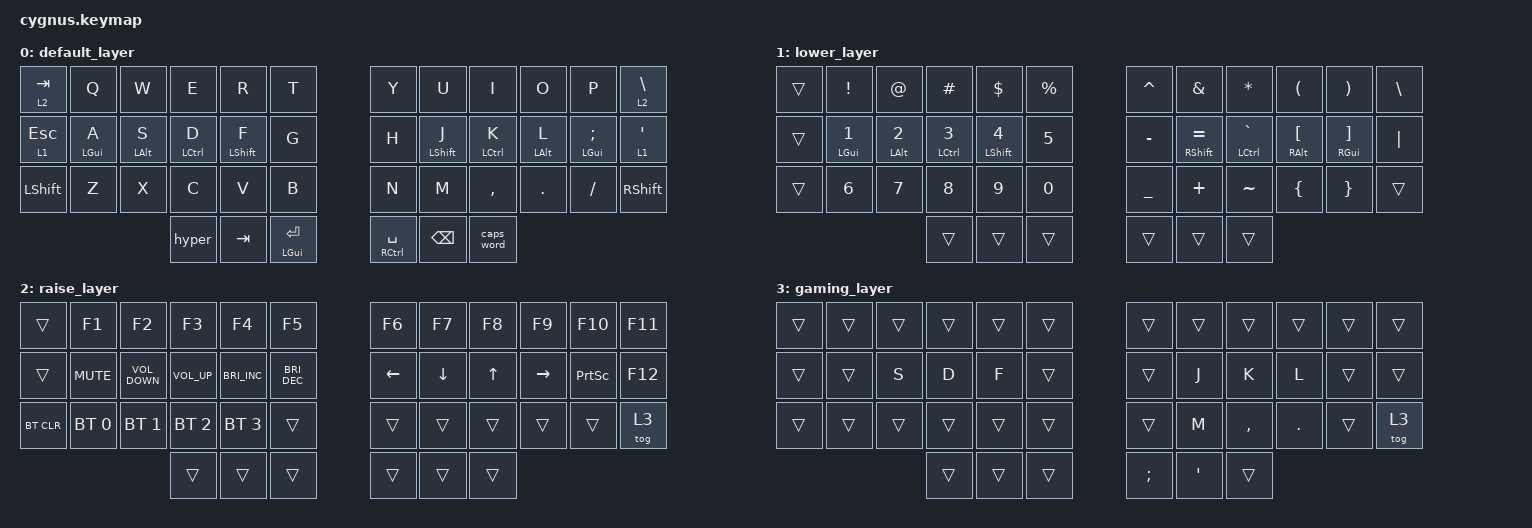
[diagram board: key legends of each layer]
/*
 * Copyright (c) 2020 The ZMK Contributors
 *
 * SPDX-License-Identifier: MIT
 */

#include <dt-bindings/zmk/mouse.h>
#include <behaviors.dtsi>
#include <dt-bindings/zmk/bt.h>
#include <dt-bindings/zmk/keys.h>

/ {
    combos { compatible = "zmk,combos"; };

    behaviors {
        hmr: hmr {
            compatible = "zmk,behavior-hold-tap";
            label = "HMR";
            bindings = <&kp>, <&kp>;

            #binding-cells = <2>;
            hold-trigger-key-positions = <0 1 2 3 4 5 6 7 8 9 10 11 12 13 14 15 16 17 18 19 20 21 22 23 24 25 26 27 28 29 30 31 32 33 34 35 36 37 38 39 40 41>;
            hold-trigger-on-release;
            tapping-term-ms = <200>;
            quick-tap-ms = <175>;
            flavor = "tap-preferred";
        };

        hyper: hyper {
            compatible = "zmk,behavior-mod-morph";
            label = "HYPER";
            bindings = <&none>, <&none>;

            #binding-cells = <0>;
            mods = <(MOD_LCTL|MOD_RSFT|MOD_LALT|MOD_RGUI)>;
        };
    };

    keymap {
        compatible = "zmk,keymap";

        default_layer {
            // -----------------------------------------------------------------------------------------
            // |  TAB |  Q  |  W  |  E  |  R  |  T  |   |  Y  |  U   |  I  |  O  |  P  | BSPC |
            // | SHFT |  A  |  S  |  D  |  F  |  G  |   |  H  |  J   |  K  |  L  |  ;  | ENTR |
            // | CTRL |  Z  |  X  |  C  |  V  |  B  |   |  N  |  M   | ./, | '/" |  /* | EQU |
            //                    | GUI | LWR | SPC |   | SPC | L2   | L1  |

            bindings = <
&lt 2 TAB       &kp Q            &kp W            &kp E                &kp R              &kp T                 &kp Y                    &kp U              &kp I                &kp O            &kp P               &lt 2 BACKSLASH
&lt 1 ESC       &hmr LEFT_GUI A  &hmr LEFT_ALT S  &hmr LEFT_CONTROL D  &hmr LEFT_SHIFT F  &kp G                 &kp H                    &hmr LEFT_SHIFT J  &hmr LEFT_CONTROL K  &hmr LEFT_ALT L  &hmr LEFT_GUI SEMI  &lt 1 SQT
&kp LEFT_SHIFT  &kp Z            &kp X            &kp C                &kp V              &kp B                 &kp N                    &kp M              &kp COMMA            &kp PERIOD       &kp SLASH           &kp RIGHT_SHIFT
                                                  &hyper               &kp TAB            &mt LEFT_GUI ENTER    &mt RIGHT_CONTROL SPACE  &kp BACKSPACE      &caps_word
            >;
        };

        lower_layer {
            // -----------------------------------------------------------------------------------------
            // | SYSR |     |     |     |     |     |   |     |  1  |  2  |  3  |  0  |      |
            // |      |     |     | UP  |     |     |   |     |  4  |  5  |  6  |     |      |
            // |      |     | LFT | DWN | RGT |     |   |     |  7  |  8  |  9  |     |      |
            //                    |     |     | SPC |   | SPC |     |     |

            bindings = <
&trans  &kp EXCLAMATION         &kp AT_SIGN             &kp HASH             &kp DOLLAR                &kp PERCENT     &kp CARET       &kp AMPERSAND           &kp ASTERISK             &kp LEFT_PARENTHESIS         &kp RIGHT_PARENTHESIS         &kp BACKSLASH
&trans  &hmr LEFT_GUI NUMBER_1  &hmr LEFT_ALT NUMBER_2  &hmr LCTRL NUMBER_3  &hmr LEFT_SHIFT NUMBER_4  &kp NUMBER_5    &kp MINUS       &hmr RIGHT_SHIFT EQUAL  &hmr LEFT_CONTROL GRAVE  &hmr RIGHT_ALT LEFT_BRACKET  &hmr RIGHT_GUI RIGHT_BRACKET  &kp PIPE
&trans  &kp NUMBER_6            &kp NUMBER_7            &kp NUMBER_8         &kp NUMBER_9              &kp NUMBER_0    &kp UNDERSCORE  &kp PLUS                &kp TILDE                &kp LEFT_BRACE               &kp RIGHT_BRACE               &trans
                                                        &trans               &trans                    &trans          &trans          &trans                  &trans
            >;
        };

        raise_layer {
            // -----------------------------------------------------------------------------------------
            // |  TAB |  !  |  @  |  #  |  &  |  %  |   |  ^  |  $  |  *  |  (  |  )  | BSPC |
            // | CTRL |MUTE |V_UP |V_DWN|  <  |  >  |   |  -  |  =  |  [  |  ]  |  \  |  `   |
            // | SHFT |     |     |     |     |     |   |  _  |  +  |  {  |  }  | "|" |  ~   |
            //                    | GUI |     | SPC |   | SPC |     | ALT |

            bindings = <
&trans      &kp F1        &kp F2             &kp F3           &kp F4                &kp F5           &kp F6          &kp F7          &kp F8        &kp F9     &kp F10          &kp F11
&trans      &kp C_MUTE    &kp C_VOLUME_DOWN  &kp C_VOLUME_UP  &kp C_BRIGHTNESS_INC  &kp C_BRI_DEC    &kp LEFT_ARROW  &kp DOWN_ARROW  &kp UP_ARROW  &kp RIGHT  &kp PRINTSCREEN  &kp F12
&bt BT_CLR  &bt BT_SEL 0  &bt BT_SEL 1       &bt BT_SEL 2     &bt BT_SEL 3          &trans           &trans          &trans          &trans        &trans     &trans           &tog 3
                                             &trans           &trans                &trans           &trans          &trans          &trans
            >;
        };

        gaming_layer {
            bindings = <
&trans  &trans  &trans  &trans  &trans  &trans    &trans         &trans   &trans     &trans      &trans  &trans
&trans  &trans  &kp S   &kp D   &kp F   &trans    &trans         &kp J    &kp K      &kp L       &trans  &trans
&trans  &trans  &trans  &trans  &trans  &trans    &trans         &kp M    &kp COMMA  &kp PERIOD  &trans  &tog 3
                        &trans  &trans  &trans    &kp SEMICOLON  &kp SQT  &trans
            >;
        };
    };
};

//For new Layers
// -----------------------------------------------------------------------------------------
// |      |     |     |     |     |     |   |     |     |     |     |     |      |
// |      |     |     |     |     |     |   |     |     |     |     |     |      |
// |      |     |     |     |     |     |   |     |     |     |     |     |      |
//                    |     |     |     |   |     |     |     |
